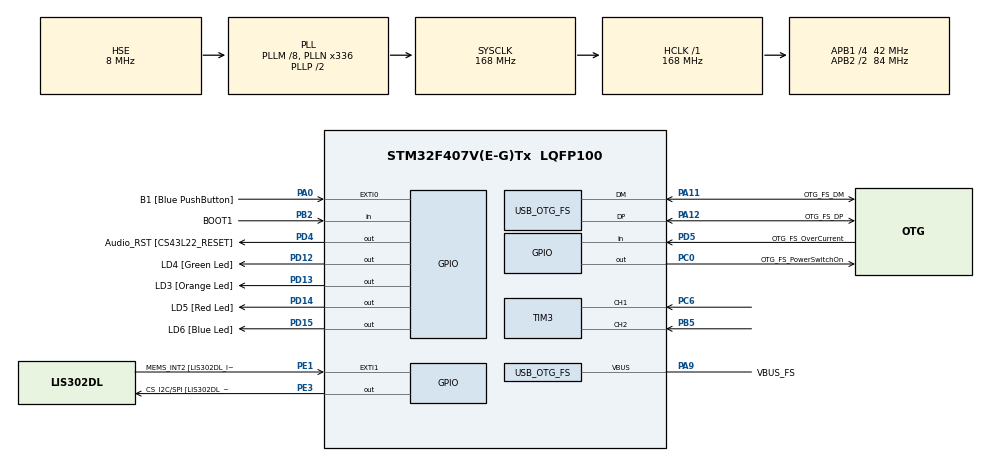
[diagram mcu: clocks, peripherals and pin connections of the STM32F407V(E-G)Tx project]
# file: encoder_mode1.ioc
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Mcu.Family=STM32F4
Mcu.Name=STM32F407V(E-G)Tx
Mcu.Package=LQFP100
NVIC.OTG_FS_IRQn=true\:0\:0\:false\:false\:true\:true\:true\:true
NVIC.PriorityGroup=NVIC_PRIORITYGROUP_0
NVIC.TIM3_IRQn=true\:0\:0\:false\:false\:true\:true\:true\:true
PA0-WKUP.GPIO_Label=B1 [Blue PushButton]
PA0-WKUP.GPIO_ModeDefaultEXTI=GPIO_MODE_EVT_RISING
PA0-WKUP.GPIO_PuPd=GPIO_NOPULL
PA0-WKUP.Signal=GPXTI0
PA10.GPIO_Label=OTG_FS_ID
PA10.GPIO_Mode=GPIO_MODE_AF_PP
PA10.GPIO_PuPd=GPIO_NOPULL
PA10.GPIO_Speed=GPIO_SPEED_FREQ_LOW
PA10.Signal=USB_OTG_FS_ID
PA11.GPIO_Label=OTG_FS_DM
PA11.GPIO_Mode=GPIO_MODE_AF_PP
PA11.GPIO_PuPd=GPIO_NOPULL
PA11.GPIO_Speed=GPIO_SPEED_FREQ_LOW
PA11.Mode=Host_Only
PA11.Signal=USB_OTG_FS_DM
PA12.GPIO_Label=OTG_FS_DP
PA12.GPIO_Mode=GPIO_MODE_AF_PP
PA12.GPIO_PuPd=GPIO_NOPULL
PA12.GPIO_Speed=GPIO_SPEED_FREQ_LOW
PA12.Mode=Host_Only
PA12.Signal=USB_OTG_FS_DP
PA13.GPIO_Label=SWDIO
PA13.Mode=Serial_Wire
PA13.Signal=SYS_JTMS-SWDIO
PA14.GPIO_Label=SWCLK
PA14.Mode=Serial_Wire
PA14.Signal=SYS_JTCK-SWCLK
PA4.GPIO_Label=I2S3_WS [CS43L22_LRCK]
PA4.GPIO_Mode=GPIO_MODE_AF_PP
PA4.GPIO_PuPd=GPIO_NOPULL
PA4.GPIO_Speed=GPIO_SPEED_FREQ_LOW
PA4.Signal=I2S3_WS
PA5.GPIO_Label=SPI1_SCK [LIS302DL_SCL/SPC]
PA5.GPIO_Mode=GPIO_MODE_AF_PP
PA5.GPIO_PuPd=GPIO_NOPULL
PA5.GPIO_Speed=GPIO_SPEED_FREQ_LOW
PA5.Signal=SPI1_SCK
PA6.GPIO_Label=SPI1_MISO [LIS302DL_SDO]
PA6.GPIO_Mode=GPIO_MODE_AF_PP
PA6.GPIO_PuPd=GPIO_NOPULL
PA6.GPIO_Speed=GPIO_SPEED_FREQ_LOW
PA6.Signal=SPI1_MISO
PA7.GPIO_Label=SPI1_MOSI [LIS302DL_SDA/SDI/SDO]
PA7.GPIO_Mode=GPIO_MODE_AF_PP
PA7.GPIO_PuPd=GPIO_NOPULL
PA7.GPIO_Speed=GPIO_SPEED_FREQ_LOW
PA7.Signal=SPI1_MOSI
PA9.GPIO_Label=VBUS_FS
PA9.GPIO_Mode=GPIO_MODE_INPUT
PA9.GPIO_PuPd=GPIO_NOPULL
PA9.Mode=Activate_VBUS
PA9.Signal=USB_OTG_FS_VBUS
PB10.GPIO_Label=CLK_IN [MP45DT02_CLK]
PB10.GPIO_Mode=GPIO_MODE_AF_PP
PB10.GPIO_PuPd=GPIO_NOPULL
PB10.GPIO_Speed=GPIO_SPEED_FREQ_LOW
PB10.Signal=I2S2_CK
PB2.GPIO_Label=BOOT1
PB2.GPIO_Mode=GPIO_MODE_INPUT
PB2.GPIO_PuPd=GPIO_NOPULL
PB2.Signal=GPIO_Input
PB3.GPIO_Label=SWO
PB3.Signal=SYS_JTDO-SWO
PB5.Signal=S_TIM3_CH2
PB6.GPIO_Label=Audio_SCL [CS43L22_SCL]
PB6.GPIO_Mode=GPIO_MODE_AF_OD
PB6.GPIO_Pu=GPIO_PULLUP
PB6.GPIO_PuPd=GPIO_NOPULL
PB6.GPIO_Speed=GPIO_SPEED_FREQ_LOW
PB6.Signal=I2C1_SCL
PB9.GPIO_Label=Audio_SDA [CS43L22_SDA]
PB9.GPIO_Mode=GPIO_MODE_AF_OD
PB9.GPIO_Pu=GPIO_PULLUP
PB9.GPIO_PuPd=GPIO_NOPULL
PB9.GPIO_Speed=GPIO_SPEED_FREQ_LOW
PB9.Signal=I2C1_SDA
PC0.GPIO_Label=OTG_FS_PowerSwitchOn
PC0.GPIO_PuPd=GPIO_NOPULL
PC0.GPIO_Speed=GPIO_SPEED_FREQ_LOW
PC0.PinState=GPIO_PIN_SET
PC0.Signal=GPIO_Output
PC10.GPIO_Label=I2S3_SCK [CS43L22_SCLK]
PC10.GPIO_Mode=GPIO_MODE_AF_PP
PC10.GPIO_PuPd=GPIO_NOPULL
PC10.GPIO_Speed=GPIO_SPEED_FREQ_LOW
PC10.Signal=I2S3_CK
PC12.GPIO_Label=I2S3_SD [CS43L22_SDIN]
PC12.GPIO_Mode=GPIO_MODE_AF_PP
PC12.GPIO_PuPd=GPIO_NOPULL
PC12.GPIO_Speed=GPIO_SPEED_FREQ_LOW
PC12.Signal=I2S3_SD
PC14-OSC32_IN.GPIO_Label=PC14-OSC32_IN
PC14-OSC32_IN.Signal=RCC_OSC32_IN
PC15-OSC32_OUT.GPIO_Label=PC15-OSC32_OUT
PC15-OSC32_OUT.Signal=RCC_OSC32_OUT
PC3.GPIO_Label=PDM_OUT [MP45DT02_DOUT]
PC3.GPIO_Mode=GPIO_MODE_AF_PP
PC3.GPIO_PuPd=GPIO_NOPULL
PC3.GPIO_Speed=GPIO_SPEED_FREQ_LOW
PC3.Signal=I2S2_SD
PC6.Signal=S_TIM3_CH1
PC7.GPIO_Label=I2S3_MCK [CS43L22_MCLK]
PC7.GPIO_Mode=GPIO_MODE_AF_PP
PC7.GPIO_PuPd=GPIO_NOPULL
PC7.GPIO_Speed=GPIO_SPEED_FREQ_LOW
PC7.Signal=I2S3_MCK
PD12.GPIO_Label=LD4 [Green Led]
PD12.GPIO_PuPd=GPIO_NOPULL
PD12.GPIO_Speed=GPIO_SPEED_FREQ_LOW
PD12.Signal=GPIO_Output
PD13.GPIO_Label=LD3 [Orange Led]
PD13.GPIO_PuPd=GPIO_NOPULL
PD13.GPIO_Speed=GPIO_SPEED_FREQ_LOW
PD13.Signal=GPIO_Output
PD14.GPIO_Label=LD5 [Red Led]
PD14.GPIO_PuPd=GPIO_NOPULL
PD14.GPIO_Speed=GPIO_SPEED_FREQ_LOW
PD14.Signal=GPIO_Output
PD15.GPIO_Label=LD6 [Blue Led]
PD15.GPIO_PuPd=GPIO_NOPULL
PD15.GPIO_Speed=GPIO_SPEED_FREQ_LOW
PD15.Signal=GPIO_Output
PD4.GPIO_Label=Audio_RST [CS43L22_RESET]
PD4.GPIO_PuPd=GPIO_NOPULL
PD4.GPIO_Speed=GPIO_SPEED_FREQ_LOW
PD4.Signal=GPIO_Output
PD5.GPIO_Label=OTG_FS_OverCurrent
PD5.GPIO_Mode=GPIO_MODE_INPUT
PD5.GPIO_PuPd=GPIO_NOPULL
PD5.Signal=GPIO_Input
PE1.GPIO_Label=MEMS_INT2 [LIS302DL_INT2]
PE1.GPIO_ModeDefaultEXTI=GPIO_MODE_EVT_RISING
PE1.GPIO_PuPd=GPIO_NOPULL
PE1.Signal=GPXTI1
PE3.GPIO_Label=CS_I2C/SPI [LIS302DL_CS_I2C/SPI]
PE3.GPIO_PuPd=GPIO_NOPULL
PE3.GPIO_Speed=GPIO_SPEED_FREQ_LOW
PE3.Signal=GPIO_Output
PH0-OSC_IN.GPIO_Label=PH0-OSC_IN
PH0-OSC_IN.Mode=HSE-External-Oscillator
PH0-OSC_IN.Signal=RCC_OSC_IN
PH1-OSC_OUT.GPIO_Label=PH1-OSC_OUT
PH1-OSC_OUT.Mode=HSE-External-Oscillator
PH1-OSC_OUT.Signal=RCC_OSC_OUT
ProjectManager.HeapSize=0x200
ProjectManager.StackSize=0x400
ProjectManager.TargetToolchain=STM32CubeIDE
RCC.48MHZClocksFreq_Value=48000000
RCC.AHBFreq_Value=168000000
RCC.APB1CLKDivider=RCC_HCLK_DIV4
RCC.APB1Freq_Value=42000000
RCC.APB1TimFreq_Value=84000000
RCC.APB2CLKDivider=RCC_HCLK_DIV2
RCC.APB2Freq_Value=84000000
RCC.APB2TimFreq_Value=168000000
RCC.CortexFreq_Value=168000000
RCC.HCLKFreq_Value=168000000
RCC.HSE_VALUE=8000000
RCC.HSI_VALUE=16000000
RCC.PLLM=8
RCC.PLLN=336
RCC.PLLQ=7
RCC.SYSCLKFreq_VALUE=168000000
RCC.SYSCLKSource=RCC_SYSCLKSOURCE_PLLCLK
RCC.VCOOutputFreq_Value=336000000
SH.S_TIM3_CH1.0=TIM3_CH1,Encoder_Interface
SH.S_TIM3_CH2.0=TIM3_CH2,Encoder_Interface
TIM3.AutoReloadPreload=TIM_AUTORELOAD_PRELOAD_ENABLE
TIM3.EncoderMode=TIM_ENCODERMODE_TI12
USB_OTG_FS.VirtualMode=Host_Only
USB_OTG_FS.phy_itface=HCD_PHY_EMBEDDED
board=STM32F407G-DISC1

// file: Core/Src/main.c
/* USER CODE BEGIN Header */
/**
  ******************************************************************************
  * @file           : main.c
  * @brief          : Main program body
  ******************************************************************************
  * @attention
  *
  * Copyright (c) 2023 STMicroelectronics.
  * All rights reserved.
  *
  * This software is licensed under terms that can be found in the LICENSE file
  * in the root directory of this software component.
  * If no LICENSE file comes with this software, it is provided AS-IS.
  *
  ******************************************************************************
  */
/* USER CODE END Header */
#include "main.h"

TIM_HandleTypeDef htim3;

HCD_HandleTypeDef hhcd_USB_OTG_FS;

void SystemClock_Config(void);
static void MX_GPIO_Init(void);
static void MX_TIM3_Init(void);
static void MX_USB_OTG_FS_HCD_Init(void);
/* USER CODE BEGIN PFP */
uint32_t rot_new_state;
uint32_t rot_old_state;
uint32_t rot_cnt;
uint32_t _write(int file, char* p, int len){
	HAL_UART_Transmit(&huart2, p, len, 10);
	return len;

}
/* USER CODE END PFP */

int main(void)
{

  /* MCU Configuration--------------------------------------------------------*/

  /* Reset of all peripherals, Initializes the Flash interface and the Systick. */
  HAL_Init();

  /* Configure the system clock */
  SystemClock_Config();

  /* Initialize all configured peripherals */
  MX_GPIO_Init();
  MX_TIM3_Init();
  MX_USB_OTG_FS_HCD_Init();
  /* USER CODE BEGIN 2 */
  HAL_TIM_Encoder_Start_IT(&htim3, TIM_CHANNEL_ALL);
  /* USER CODE END 2 */

  /* Infinite loop */
  while (1)
  {

  }
}

void SystemClock_Config(void)
{
  RCC_OscInitTypeDef RCC_OscInitStruct = {0};
  RCC_ClkInitTypeDef RCC_ClkInitStruct = {0};

  /** Configure the main internal regulator output voltage
  */
  __HAL_RCC_PWR_CLK_ENABLE();
  __HAL_PWR_VOLTAGESCALING_CONFIG(PWR_REGULATOR_VOLTAGE_SCALE1);

  /** Initializes the RCC Oscillators according to the specified parameters
  * in the RCC_OscInitTypeDef structure.
  */
  RCC_OscInitStruct.OscillatorType = RCC_OSCILLATORTYPE_HSE;
  RCC_OscInitStruct.HSEState = RCC_HSE_ON;
  RCC_OscInitStruct.PLL.PLLState = RCC_PLL_ON;
  RCC_OscInitStruct.PLL.PLLSource = RCC_PLLSOURCE_HSE;
  RCC_OscInitStruct.PLL.PLLM = 8;
  RCC_OscInitStruct.PLL.PLLN = 336;
  RCC_OscInitStruct.PLL.PLLP = RCC_PLLP_DIV2;
  RCC_OscInitStruct.PLL.PLLQ = 7;
  if (HAL_RCC_OscConfig(&RCC_OscInitStruct) != HAL_OK)
  {
    Error_Handler();
  }

  /** Initializes the CPU, AHB and APB buses clocks
  */
  RCC_ClkInitStruct.ClockType = RCC_CLOCKTYPE_HCLK|RCC_CLOCKTYPE_SYSCLK
                              |RCC_CLOCKTYPE_PCLK1|RCC_CLOCKTYPE_PCLK2;
  RCC_ClkInitStruct.SYSCLKSource = RCC_SYSCLKSOURCE_PLLCLK;
  RCC_ClkInitStruct.AHBCLKDivider = RCC_SYSCLK_DIV1;
  RCC_ClkInitStruct.APB1CLKDivider = RCC_HCLK_DIV4;
  RCC_ClkInitStruct.APB2CLKDivider = RCC_HCLK_DIV2;

  if (HAL_RCC_ClockConfig(&RCC_ClkInitStruct, FLASH_LATENCY_5) != HAL_OK)
  {
    Error_Handler();
  }
}

static void MX_TIM3_Init(void)
{

  TIM_Encoder_InitTypeDef sConfig = {0};
  TIM_MasterConfigTypeDef sMasterConfig = {0};

  htim3.Instance = TIM3;
  htim3.Init.Prescaler = 0;
  htim3.Init.CounterMode = TIM_COUNTERMODE_UP;
  htim3.Init.Period = 65535;
  htim3.Init.ClockDivision = TIM_CLOCKDIVISION_DIV1;
  htim3.Init.AutoReloadPreload = TIM_AUTORELOAD_PRELOAD_ENABLE;
  sConfig.EncoderMode = TIM_ENCODERMODE_TI12;
  sConfig.IC1Polarity = TIM_ICPOLARITY_RISING;
  sConfig.IC1Selection = TIM_ICSELECTION_DIRECTTI;
  sConfig.IC1Prescaler = TIM_ICPSC_DIV1;
  sConfig.IC1Filter = 0;
  sConfig.IC2Polarity = TIM_ICPOLARITY_RISING;
  sConfig.IC2Selection = TIM_ICSELECTION_DIRECTTI;
  sConfig.IC2Prescaler = TIM_ICPSC_DIV1;
  sConfig.IC2Filter = 0;
  if (HAL_TIM_Encoder_Init(&htim3, &sConfig) != HAL_OK)
  {
    Error_Handler();
  }
  sMasterConfig.MasterOutputTrigger = TIM_TRGO_RESET;
  sMasterConfig.MasterSlaveMode = TIM_MASTERSLAVEMODE_DISABLE;
  if (HAL_TIMEx_MasterConfigSynchronization(&htim3, &sMasterConfig) != HAL_OK)
  {
    Error_Handler();
  }

}

static void MX_USB_OTG_FS_HCD_Init(void)
{

  hhcd_USB_OTG_FS.Instance = USB_OTG_FS;
  hhcd_USB_OTG_FS.Init.Host_channels = 8;
  hhcd_USB_OTG_FS.Init.speed = HCD_SPEED_FULL;
  hhcd_USB_OTG_FS.Init.dma_enable = DISABLE;
  hhcd_USB_OTG_FS.Init.phy_itface = HCD_PHY_EMBEDDED;
  hhcd_USB_OTG_FS.Init.Sof_enable = DISABLE;
  if (HAL_HCD_Init(&hhcd_USB_OTG_FS) != HAL_OK)
  {
    Error_Handler();
  }

}

static void MX_GPIO_Init(void)
{
  GPIO_InitTypeDef GPIO_InitStruct = {0};

  /* GPIO Ports Clock Enable */
  __HAL_RCC_GPIOE_CLK_ENABLE();
  __HAL_RCC_GPIOC_CLK_ENABLE();
  __HAL_RCC_GPIOH_CLK_ENABLE();
  __HAL_RCC_GPIOA_CLK_ENABLE();
  __HAL_RCC_GPIOB_CLK_ENABLE();
  __HAL_RCC_GPIOD_CLK_ENABLE();

  /*Configure GPIO pin Output Level */
  HAL_GPIO_WritePin(CS_I2C_SPI_GPIO_Port, CS_I2C_SPI_Pin, GPIO_PIN_RESET);

  /*Configure GPIO pin Output Level */
  HAL_GPIO_WritePin(OTG_FS_PowerSwitchOn_GPIO_Port, OTG_FS_PowerSwitchOn_Pin, GPIO_PIN_SET);

  /*Configure GPIO pin Output Level */
  HAL_GPIO_WritePin(GPIOD, LD4_Pin|LD3_Pin|LD5_Pin|LD6_Pin
                          |Audio_RST_Pin, GPIO_PIN_RESET);

  /*Configure GPIO pin : CS_I2C_SPI_Pin */
  GPIO_InitStruct.Pin = CS_I2C_SPI_Pin;
  GPIO_InitStruct.Mode = GPIO_MODE_OUTPUT_PP;
  GPIO_InitStruct.Pull = GPIO_NOPULL;
  GPIO_InitStruct.Speed = GPIO_SPEED_FREQ_LOW;
  HAL_GPIO_Init(CS_I2C_SPI_GPIO_Port, &GPIO_InitStruct);

  /*Configure GPIO pin : OTG_FS_PowerSwitchOn_Pin */
  GPIO_InitStruct.Pin = OTG_FS_PowerSwitchOn_Pin;
  GPIO_InitStruct.Mode = GPIO_MODE_OUTPUT_PP;
  GPIO_InitStruct.Pull = GPIO_NOPULL;
  GPIO_InitStruct.Speed = GPIO_SPEED_FREQ_LOW;
  HAL_GPIO_Init(OTG_FS_PowerSwitchOn_GPIO_Port, &GPIO_InitStruct);

  /*Configure GPIO pin : PDM_OUT_Pin */
  GPIO_InitStruct.Pin = PDM_OUT_Pin;
  GPIO_InitStruct.Mode = GPIO_MODE_AF_PP;
  GPIO_InitStruct.Pull = GPIO_NOPULL;
  GPIO_InitStruct.Speed = GPIO_SPEED_FREQ_LOW;
  GPIO_InitStruct.Alternate = GPIO_AF5_SPI2;
  HAL_GPIO_Init(PDM_OUT_GPIO_Port, &GPIO_InitStruct);

  /*Configure GPIO pin : B1_Pin */
  GPIO_InitStruct.Pin = B1_Pin;
  GPIO_InitStruct.Mode = GPIO_MODE_EVT_RISING;
  GPIO_InitStruct.Pull = GPIO_NOPULL;
  HAL_GPIO_Init(B1_GPIO_Port, &GPIO_InitStruct);

  /*Configure GPIO pin : I2S3_WS_Pin */
  GPIO_InitStruct.Pin = I2S3_WS_Pin;
  GPIO_InitStruct.Mode = GPIO_MODE_AF_PP;
  GPIO_InitStruct.Pull = GPIO_NOPULL;
  GPIO_InitStruct.Speed = GPIO_SPEED_FREQ_LOW;
  GPIO_InitStruct.Alternate = GPIO_AF6_SPI3;
  HAL_GPIO_Init(I2S3_WS_GPIO_Port, &GPIO_InitStruct);

  /*Configure GPIO pins : SPI1_SCK_Pin SPI1_MISO_Pin SPI1_MOSI_Pin */
  GPIO_InitStruct.Pin = SPI1_SCK_Pin|SPI1_MISO_Pin|SPI1_MOSI_Pin;
  GPIO_InitStruct.Mode = GPIO_MODE_AF_PP;
  GPIO_InitStruct.Pull = GPIO_NOPULL;
  GPIO_InitStruct.Speed = GPIO_SPEED_FREQ_LOW;
  GPIO_InitStruct.Alternate = GPIO_AF5_SPI1;
  HAL_GPIO_Init(GPIOA, &GPIO_InitStruct);

  /*Configure GPIO pin : BOOT1_Pin */
  GPIO_InitStruct.Pin = BOOT1_Pin;
  GPIO_InitStruct.Mode = GPIO_MODE_INPUT;
  GPIO_InitStruct.Pull = GPIO_NOPULL;
  HAL_GPIO_Init(BOOT1_GPIO_Port, &GPIO_InitStruct);

  /*Configure GPIO pin : CLK_IN_Pin */
  GPIO_InitStruct.Pin = CLK_IN_Pin;
  GPIO_InitStruct.Mode = GPIO_MODE_AF_PP;
  GPIO_InitStruct.Pull = GPIO_NOPULL;
  GPIO_InitStruct.Speed = GPIO_SPEED_FREQ_LOW;
  GPIO_InitStruct.Alternate = GPIO_AF5_SPI2;
  HAL_GPIO_Init(CLK_IN_GPIO_Port, &GPIO_InitStruct);

  /*Configure GPIO pins : LD4_Pin LD3_Pin LD5_Pin LD6_Pin
                           Audio_RST_Pin */
  GPIO_InitStruct.Pin = LD4_Pin|LD3_Pin|LD5_Pin|LD6_Pin
                          |Audio_RST_Pin;
  GPIO_InitStruct.Mode = GPIO_MODE_OUTPUT_PP;
  GPIO_InitStruct.Pull = GPIO_NOPULL;
  GPIO_InitStruct.Speed = GPIO_SPEED_FREQ_LOW;
  HAL_GPIO_Init(GPIOD, &GPIO_InitStruct);

  /*Configure GPIO pins : I2S3_MCK_Pin I2S3_SCK_Pin I2S3_SD_Pin */
  GPIO_InitStruct.Pin = I2S3_MCK_Pin|I2S3_SCK_Pin|I2S3_SD_Pin;
  GPIO_InitStruct.Mode = GPIO_MODE_AF_PP;
  GPIO_InitStruct.Pull = GPIO_NOPULL;
  GPIO_InitStruct.Speed = GPIO_SPEED_FREQ_LOW;
  GPIO_InitStruct.Alternate = GPIO_AF6_SPI3;
  HAL_GPIO_Init(GPIOC, &GPIO_InitStruct);

  /*Configure GPIO pin : OTG_FS_OverCurrent_Pin */
  GPIO_InitStruct.Pin = OTG_FS_OverCurrent_Pin;
  GPIO_InitStruct.Mode = GPIO_MODE_INPUT;
  GPIO_InitStruct.Pull = GPIO_NOPULL;
  HAL_GPIO_Init(OTG_FS_OverCurrent_GPIO_Port, &GPIO_InitStruct);

  /*Configure GPIO pins : Audio_SCL_Pin Audio_SDA_Pin */
  GPIO_InitStruct.Pin = Audio_SCL_Pin|Audio_SDA_Pin;
  GPIO_InitStruct.Mode = GPIO_MODE_AF_OD;
  GPIO_InitStruct.Pull = GPIO_PULLUP;
  GPIO_InitStruct.Speed = GPIO_SPEED_FREQ_LOW;
  GPIO_InitStruct.Alternate = GPIO_AF4_I2C1;
  HAL_GPIO_Init(GPIOB, &GPIO_InitStruct);

  /*Configure GPIO pin : MEMS_INT2_Pin */
  GPIO_InitStruct.Pin = MEMS_INT2_Pin;
  GPIO_InitStruct.Mode = GPIO_MODE_EVT_RISING;
  GPIO_InitStruct.Pull = GPIO_NOPULL;
  HAL_GPIO_Init(MEMS_INT2_GPIO_Port, &GPIO_InitStruct);

}

/* USER CODE BEGIN 4 */
uint16_t rot_get_state() {
	return (uint16_t)((HAL_GPIO_ReadPin(GPIOB, GPIO_PIN_5) << 1)
                | (HAL_GPIO_ReadPin(GPIOC, GPIO_PIN_6)));
}

// External interrupts from rotary encoder
void HAL_GPIO_EXTI_Callback(uint16_t GPIO_Pin) {

	if (GPIO_Pin == GPIO_PIN_5 || GPIO_Pin == GPIO_PIN_6) {

		rot_new_state = rot_get_state();  //https://stm32world.com/wiki/STM32_Rotary_Encoder

		printf("rotation = %ld:%ld\n", rot_old_state, rot_new_state);

		// Check transition
		if (rot_old_state == 3 && rot_new_state == 2) {        // 3 -> 2 transition
			rot_cnt++;
		} else if (rot_old_state == 2 && rot_new_state == 0) { // 2 -> 0 transition
			rot_cnt++;
		} else if (rot_old_state == 0 && rot_new_state == 1) { // 0 -> 1 transition
			rot_cnt++;
		} else if (rot_old_state == 1 && rot_new_state == 3) { // 1 -> 3 transition
			rot_cnt++;
		} else if (rot_old_state == 3 && rot_new_state == 1) { // 3 -> 1 transition
			rot_cnt--;
		} else if (rot_old_state == 1 && rot_new_state == 0) { // 1 -> 0 transition
			rot_cnt--;
		} else if (rot_old_state == 0 && rot_new_state == 2) { // 0 -> 2 transition
			rot_cnt--;
		} else if (rot_old_state == 2 && rot_new_state == 3) { // 2 -> 3 transition
			rot_cnt--;
		}

		rot_old_state = rot_new_state;
	}
}
/* USER CODE END 4 */

void Error_Handler(void)
{
  __disable_irq();
  while (1)
  {
  }
}
